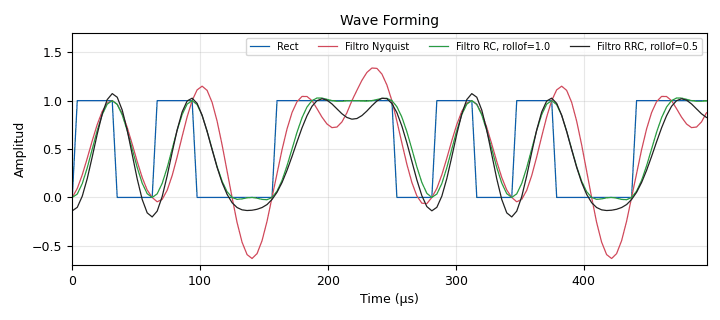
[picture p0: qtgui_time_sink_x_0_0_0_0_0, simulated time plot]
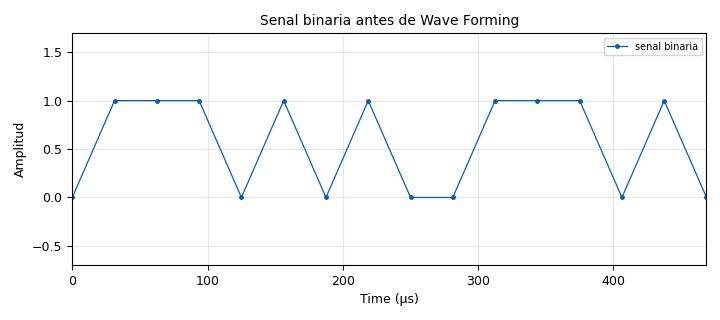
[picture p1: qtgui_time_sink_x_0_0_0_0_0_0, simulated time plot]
options:
  parameters:
    category: Custom
    generate_options: qt_gui
    id: top_block
    output_language: python
    run: run_stop
  states: {}

blocks:
- name: Rb
  id: variable
  parameters:
    value: '32000'
  states: {}
- name: Sps
  id: variable
  parameters:
    value: '8'
  states: {}
- name: ntaps
  id: variable
  parameters:
    value: '128'
  states: {}
- name: rolloff1
  id: variable
  parameters:
    value: '1.0'
  states: {}
- name: rolloff2
  id: variable
  parameters:
    value: '0.5'
  states: {}
- name: rolloff3
  id: variable
  parameters:
    value: '0.35'
  states: {}
- name: run_stop
  id: variable_qtgui_check_box
  parameters:
    'false': 'False'
    gui_hint: 0,0,1,1
    label: Inicial/Parar
    'true': 'True'
    type: int
    value: 'True'
  states: {}
- name: samp_rate
  id: variable
  parameters:
    value: Rb*Sps
  states: {}
- name: blocks_delay_0
  id: blocks_delay
  parameters:
    delay: Sps*2-1
    type: float
  states: {}
- name: blocks_delay_0_0
  id: blocks_delay
  parameters:
    delay: Sps*2-1
    type: float
  states: {}
- name: blocks_delay_0_1
  id: blocks_delay
  parameters:
    delay: Sps*2-1
    type: float
  states: {}
- name: blocks_vector_source_x_0
  id: blocks_vector_source_x
  parameters:
    repeat: 'True'
    type: float
    vector: (1, 0, 1,0,0,1,1,1,0)
  states: {}
- name: import_0
  id: import
  parameters:
    imports: import numpy
  states: {}
- name: interp_fir_filter_xxx_0_0_0_0_0
  id: interp_fir_filter_xxx
  parameters:
    interp: Sps
    taps: wform.rect(Sps)
    type: fff
  states: {}
- name: interp_fir_filter_xxx_0_0_0_0_0_0
  id: interp_fir_filter_xxx
  parameters:
    interp: Sps
    taps: wform.nyq(Sps,ntaps)
    type: fff
  states: {}
- name: interp_fir_filter_xxx_0_0_0_0_0_0_1
  id: interp_fir_filter_xxx
  parameters:
    interp: Sps
    taps: wform.rrcos(Sps,ntaps,rolloff2)
    type: fff
  states: {}
- name: interp_fir_filter_xxx_0_0_0_0_0_2
  id: interp_fir_filter_xxx
  parameters:
    interp: Sps
    taps: wform.rcos(Sps,ntaps,rolloff1)
    type: fff
  states: {}
- name: qtgui_time_sink_x_0_0_0_0_0
  id: qtgui_time_sink_x
  parameters:
    ctrlpanel: 'True'
    gui_hint: 2,0,1,1
    label1: Rect
    label2: Filtro Nyquist
    label3: Filtro RC, rollof=1.0
    label4: Filtro RRC, rollof=0.5
    name: '"Wave Forming"'
    nconnections: '4'
    size: ntaps
    srate: samp_rate
    tr_mode: qtgui.TRIG_MODE_AUTO
    type: float
    width1: '3'
    width2: '3'
    width3: '3'
    width4: '3'
    ylabel: Amplitud
    ymax: '1.7'
    ymin: '-0.7'
  states: {}
- name: qtgui_time_sink_x_0_0_0_0_0_0
  id: qtgui_time_sink_x
  parameters:
    ctrlpanel: 'True'
    gui_hint: 1,0,1,1
    label1: '''senal binaria                 '''
    marker1: '0'
    name: Senal binaria antes de Wave Forming
    size: int(ntaps/Sps)
    srate: Rb
    tr_mode: qtgui.TRIG_MODE_AUTO
    type: float
    width1: '3'
    ylabel: Amplitud
    ymax: '1.7'
    ymin: '-0.7'
    yunit: ''
  states: {}
- name: wform
  id: epy_module
  parameters:
    source_code: |
      import math
      import numpy
      #######################################################
      ##        Hecho por Homero Ortega Boada              ##
      ##        comdiguis@saber.uis.edu.co                 ##
      ##     Universidad Industrial de Santander           ##
      #######################################################

      #######################################################
      ##               Forma rectangular                   ##
      #######################################################                       
      def rect(Sps):
          return Sps*[1.,]

      #######################################################
      ##               Forma de Nyquist                    ##
      #######################################################                       
      def nyq(Sps,ntaps):
          n=numpy.linspace(-int(ntaps/2), int(ntaps/2-1),ntaps)
          h=numpy.sinc(n/Sps)
      #    return h/numpy.amax(h)
          return h
      #######################################################
      ##               Forma Coseno Alzado                 ##
      #######################################################                       
      def rcos(Sps,ntaps,beta):
          if beta==0:
              h=nyq(Sps,ntaps)
          else:
              h=ntaps*[0,]
              for n in range(ntaps):
                  k=n-ntaps/2. # esto es para que h[n] quede centrada en la mitad del vector
                  if abs(k)==Sps/(2.*beta):
                      h[n]=numpy.sinc(1./(2.*beta))*math.pi/4.
                  else:
                      h[n]=numpy.sinc(k/Sps)*math.cos(beta*k*math.pi/Sps)/(1.-(2.*beta*k/Sps)**2)                
          Amp=numpy.amax(h)
          return h/Amp
      #######################################################
      ##            Forma Raiz de Coseno Alzado            ##
      #######################################################                       

      def rrcos(Sps,ntaps,beta):
          if beta==0:
              h=nyq(Sps,ntaps)
          else:
              h=ntaps*[0,]
              beta4=4.*beta
              for n in range(ntaps):
                  k=n-ntaps/2. # esto es para que h[n] quede centrada en la mitad del vector
                  if k==0:
                      h[n]=1+beta*(4./math.pi-1.)
                  elif abs(k)==Sps/beta4:
                      ha=(1.+2./math.pi)*math.sin(math.pi/beta4)
                      hb=(1.-2./math.pi)*math.cos(math.pi/beta4)
                      h[n]=(ha+hb)*beta/math.sqrt(2.)
                  else:
                      ks=k/Sps
                      kspi=math.pi*ks
                      Num=math.sin(kspi*(1-beta))+beta4*ks*math.cos(kspi*(1+beta))
                      Den=kspi*(1.-(beta4*ks)**2)
                      h[n]=Num/Den                
          Amp=numpy.amax(h)
          return h/Amp
  states: {}

connections:
- [blocks_delay_0, '0', qtgui_time_sink_x_0_0_0_0_0, '1']
- [blocks_delay_0_0, '0', qtgui_time_sink_x_0_0_0_0_0, '2']
- [blocks_delay_0_1, '0', qtgui_time_sink_x_0_0_0_0_0, '3']
- [blocks_vector_source_x_0, '0', interp_fir_filter_xxx_0_0_0_0_0, '0']
- [blocks_vector_source_x_0, '0', interp_fir_filter_xxx_0_0_0_0_0_0, '0']
- [blocks_vector_source_x_0, '0', interp_fir_filter_xxx_0_0_0_0_0_0_1, '0']
- [blocks_vector_source_x_0, '0', interp_fir_filter_xxx_0_0_0_0_0_2, '0']
- [blocks_vector_source_x_0, '0', qtgui_time_sink_x_0_0_0_0_0_0, '0']
- [interp_fir_filter_xxx_0_0_0_0_0, '0', qtgui_time_sink_x_0_0_0_0_0, '0']
- [interp_fir_filter_xxx_0_0_0_0_0_0, '0', blocks_delay_0, '0']
- [interp_fir_filter_xxx_0_0_0_0_0_0_1, '0', blocks_delay_0_1, '0']
- [interp_fir_filter_xxx_0_0_0_0_0_2, '0', blocks_delay_0_0, '0']

metadata:
  file_format: 1
